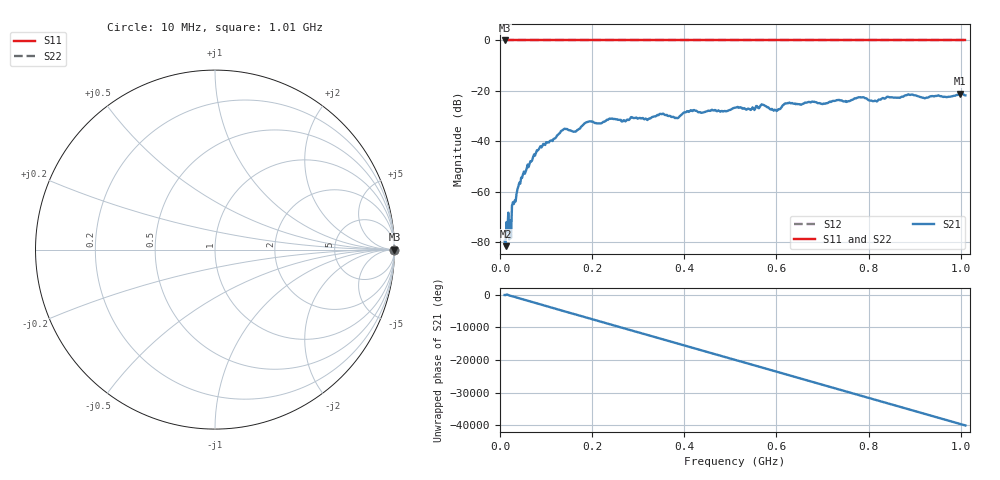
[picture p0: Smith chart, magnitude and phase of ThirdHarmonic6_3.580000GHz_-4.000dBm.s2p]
! 8/17/2025 11:53:06 AM
! C:\ANRITSUVNA\TEMP\TEMP.S2P
! CHANNEL.1
! TR.MEASUREMENT
! RAW.DATA
! RF.CORRECTION.OFF
! AVERAGING.OFF
! IF.BANDWIDTH: 5KHZ
! SWEEPTYPE:  FREQ.SWEEP(Linear)
! Reference Plane Port Info
! PORT:  PORT1  PORT2
! DISTANCE:  0  m  0  m
! TIME:  0  s  0  s
! PHASE.OFFSET:  0  deg.  0  deg.
! LOSS:  0  dB  0  dB
! REF.LOSS:  0  dB  0  dB
! REF.FREQ:  0  Hz  0  Hz
! Power Info
! POWER:  -20  dBm  -20  dBm
! EFF.POWER:  -20  dBm  -20  dBm
! SOURCE.ATTEN:  0  dB  0  dB
! TEST.ATTEN:  0  dB  0  dB
# GHZ S RI R 50.0
! FREQ.GHZ  S11RE  S11IM  S21RE  S21IM  S12RE  S12IM  S22RE  S22IM
!; PortSelection: Port_12
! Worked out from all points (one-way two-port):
!   501 points, 10 MHz to 1.01 GHz, reference 50 ohm
!   highest |S21| = -21.14 dB at 998 MHz (marker M1); lowest = -81.6 dB at 12 MHz (marker M2)
!   lowest |S11| = 0.0 dB at 10 MHz (marker M3)
!   |S11| at or under -10 dB: nowhere
!   |S22| runs from 0.0 to 0.0 dB; largest |S21 - S12| = 1.1
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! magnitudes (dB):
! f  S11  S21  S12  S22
! 10 MHz  0.0  -79.5  0.0  0.0
! 12 MHz  0.0  -81.6  0.0  0.0
! 18 MHz  0.0  -68.3  0.0  0.0
! 20 MHz  0.0  -79.0  0.0  0.0
! 30 MHz  0.0  -64.9  0.0  0.0
! 42 MHz  0.0  -56.4  0.0  0.0
! 76 MHz  0.0  -45.7  0.0  0.0
! 136 MHz  0.0  -35.6  0.0  0.0
! 162 MHz  0.0  -36.1  0.0  0.0
! 178 MHz  0.0  -33.9  0.0  0.0
! 194 MHz  0.0  -32.1  0.0  0.0
! 344 MHz  0.0  -29.7  0.0  0.0
! 384 MHz  0.0  -30.8  0.0  0.0
! 416 MHz  0.0  -27.9  0.0  0.0
! 510 MHz  0.0  -26.6  0.0  0.0
! 570 MHz  0.0  -25.4  0.0  0.0
! 598 MHz  0.0  -27.6  0.0  0.0
! 624 MHz  0.0  -24.8  0.0  0.0
! 678 MHz  0.0  -24.2  0.0  0.0
! 844 MHz  0.0  -22.4  0.0  0.0
! 998 MHz  0.0  -21.1  0.0  0.0
! 1.01 GHz  0.0  -21.8  0.0  0.0
